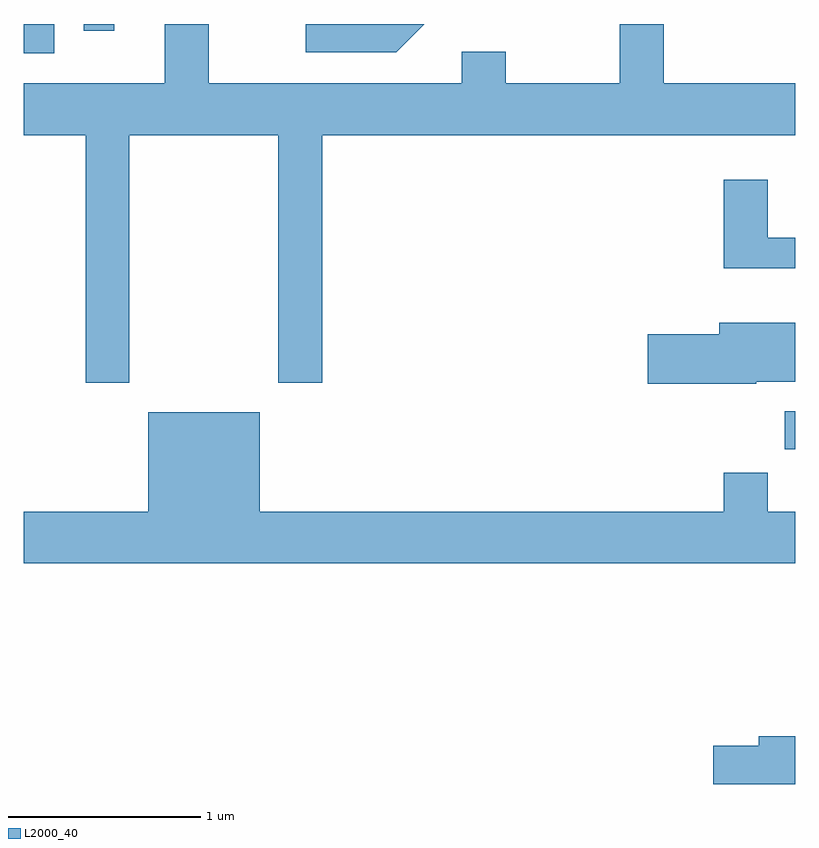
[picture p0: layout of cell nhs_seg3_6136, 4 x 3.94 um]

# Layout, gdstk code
import gdstk
lib = gdstk.Library(unit=1e-6, precision=1e-09)
def R(c, l, rs):  # rectangles x0, y0, x1, y1
    for r in rs: c.add(gdstk.rectangle(r[:2], r[2:], *l))
def P(c, l, *ps):  # polygons
    for p in ps: c.add(gdstk.Polygon(p, *l))
L2000_40 = (2000, 40)

nhs_seg3_6136 = lib.new_cell('nhs_seg3_6136')
R(nhs_seg3_6136, L2000_40, [(369.556,1157.686,369.611,1157.884), (365.611,1159.741,365.769,1159.892), (365.921,1159.858,366.079,1159.892)])
P(nhs_seg3_6136, L2000_40, [(366.159,1159.316),(366.931,1159.316),(366.931,1158.031),(367.159,1158.031),(367.159,1159.316),(369.611,1159.316),(369.611,1159.584),(368.929,1159.584),(368.929,1159.892),(368.701,1159.892),(368.701,1159.584),(368.109,1159.584),(368.109,1159.749),(367.881,1159.749),(367.881,1159.584),(366.569,1159.584),(366.569,1159.892),(366.341,1159.892),(366.341,1159.584),(365.611,1159.584),(365.611,1159.316),(365.931,1159.316),(365.931,1158.031),(366.159,1158.031)],
  [(367.687,1159.892),(367.073,1159.892),(367.073,1159.746),(367.542,1159.746)],
  [(369.611,1158.784),(369.469,1158.784),(369.469,1159.084),(369.241,1159.084),(369.241,1158.626),(369.611,1158.626)],
  [(369.41,1158.036),(369.611,1158.036),(369.611,1158.344),(369.216,1158.344),(369.216,1158.284),(368.846,1158.284),(368.846,1158.026),(369.41,1158.026)],
  [(369.241,1157.564),(369.241,1157.364),(366.834,1157.364),(366.834,1157.879),(366.256,1157.879),(366.256,1157.364),(365.611,1157.364),(365.611,1157.096),(369.611,1157.096),(369.611,1157.364),(369.469,1157.364),(369.469,1157.564)],
  [(369.611,1156.199),(369.421,1156.199),(369.421,1156.149),(369.186,1156.149),(369.186,1155.951),(369.611,1155.951)])

lib.write_gds('nhs_seg3_6136.gds')
